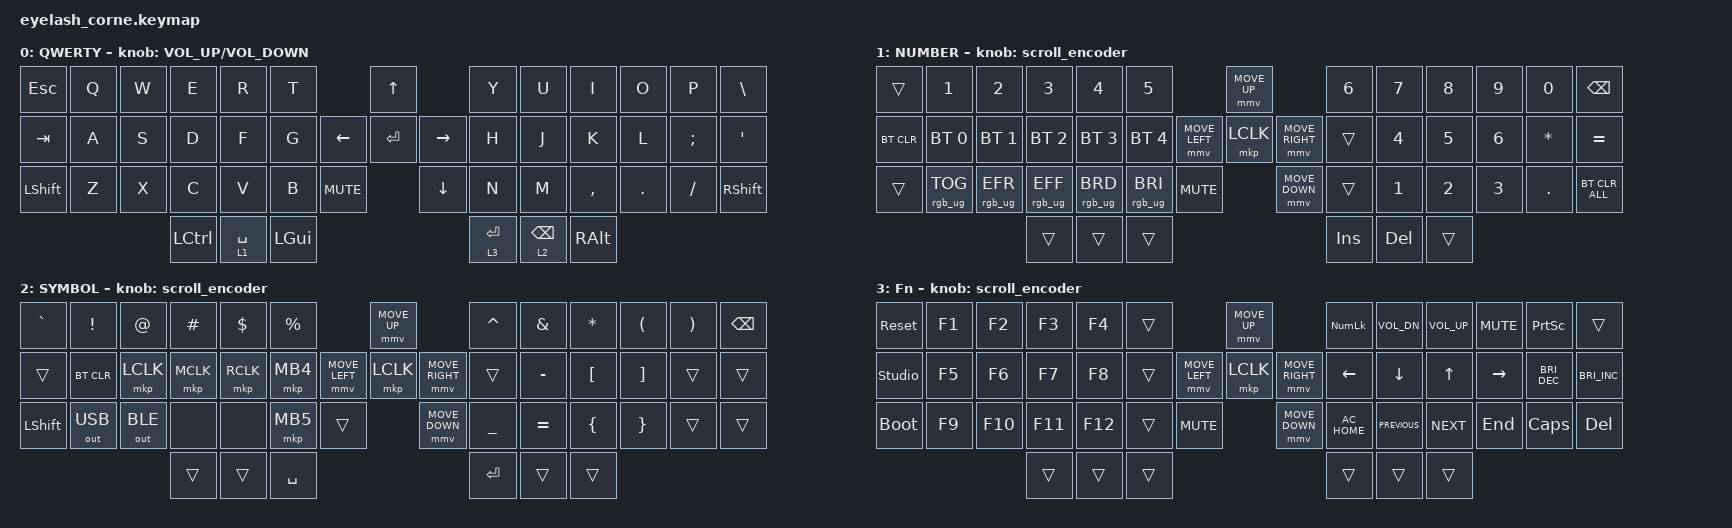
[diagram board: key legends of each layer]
#define ZMK_POINTING_DEFAULT_MOVE_VAL 1200  // 600
#define ZMK_POINTING_DEFAULT_SCRL_VAL 25   // 10

#include <input/processors.dtsi>
#include <zephyr/dt-bindings/input/input-event-codes.h>
#include <behaviors.dtsi>
#include <dt-bindings/zmk/bt.h>
#include <dt-bindings/zmk/keys.h>
#include <dt-bindings/zmk/outputs.h>
#include <dt-bindings/zmk/pointing.h>
#include <dt-bindings/zmk/rgb.h>

&mmv_input_listener { input-processors = <&zip_xy_scaler 2 1>; };

&msc_input_listener { input-processors = <&zip_scroll_scaler 2 1>; };

&msc {
    acceleration-exponent = <1>;      // 0
    time-to-max-speed-ms = <100>;       // 300
    delay-ms = <0>;                   // 0
};

&mmv {
    time-to-max-speed-ms = <500>;
    acceleration-exponent = <1>;
    trigger-period-ms = <16>;
};

/ {
    behaviors {
        td0: td0 {
            compatible = "zmk,behavior-tap-dance";
            display-name = "Shift/Caps Lock Tap Dance";
            #binding-cells = <0>;
            bindings = <&kp LEFT_SHIFT>, <&kp CAPS>;
        };

        lt: layer_tap {
            quick-tap-ms = <250>;
            compatible = "zmk,behavior-hold-tap";
            #binding-cells = <2>;
            flavor = "tap-preferred";
            tapping-term-ms = <200>;
            bindings = <&mo>, <&kp>;

            display-name = "Layer-Tap";
        };
    };

    rgb_encoder: rgb_encoder {
        compatible = "zmk,behavior-sensor-rotate";
        #sensor-binding-cells = <0>;
        bindings = <&rgb_ug RGB_BRI>, <&rgb_ug RGB_BRD>;
    };

    scroll_encoder: scroll_encoder {
        compatible = "zmk,behavior-sensor-rotate";
        #sensor-binding-cells = <0>;
        bindings = <&msc SCRL_DOWN>, <&msc SCRL_UP>;

        tap-ms = <100>;
    };

    keymap {
        compatible = "zmk,keymap";

        default_layer {
            display-name = "QWERTY";
            bindings = <
&kp ESC         &kp Q  &kp W  &kp E             &kp R        &kp T                                 &kp UP                &kp Y        &kp U            &kp I      &kp O    &kp P     &kp BACKSLASH
&kp TAB         &kp A  &kp S  &kp D             &kp F        &kp G                       &kp LEFT  &kp ENTER  &kp RIGHT  &kp H        &kp J            &kp K      &kp L    &kp SEMI  &kp SQT
&kp LEFT_SHIFT  &kp Z  &kp X  &kp C             &kp V        &kp B         &kp C_MUTE              &kp DOWN              &kp N        &kp M            &kp COMMA  &kp DOT  &kp FSLH  &kp RIGHT_SHIFT
                              &kp LEFT_CONTROL  &lt 1 SPACE  &kp LEFT_GUI                                                &lt 3 ENTER  &lt 2 BACKSPACE  &kp RALT
            >;

            // sensor-bindings = <&inc_dec_kp C_VOLUME_UP C_VOLUME_DOWN>;

            sensor-bindings = <&inc_dec_kp C_VOLUME_UP C_VOLUME_DOWN>;
        };

        Number {
            display-name = "NUMBER";
            bindings = <
&trans      &kp N1           &kp N2           &kp N3           &kp N4           &kp N5                                         &mmv MOVE_UP                     &kp N6   &kp N7        &kp N8        &kp N9        &kp N0        &kp BSPC
&bt BT_CLR  &bt BT_SEL 0     &bt BT_SEL 1     &bt BT_SEL 2     &bt BT_SEL 3     &bt BT_SEL 4                   &mmv MOVE_LEFT  &mkp LCLK       &mmv MOVE_RIGHT  &trans   &kp NUMBER_4  &kp NUMBER_5  &kp NUMBER_6  &kp ASTERISK  &kp EQUAL
&trans      &rgb_ug RGB_TOG  &rgb_ug RGB_EFR  &rgb_ug RGB_EFF  &rgb_ug RGB_BRD  &rgb_ug RGB_BRI  &kp C_MUTE                    &mmv MOVE_DOWN                   &trans   &kp NUMBER_1  &kp NUMBER_2  &kp NUMBER_3  &kp DOT       &bt BT_CLR_ALL
                                              &trans           &trans           &trans                                                                          &kp INS  &kp DEL       &trans
            >;

            sensor-bindings = <&scroll_encoder>;
        };

        Symbol {
            display-name = "SYMBOL";
            bindings = <
&kp GRAVE  &kp EXCL      &kp AT        &kp HASH   &kp DLLR   &kp PRCNT                            &mmv MOVE_UP                     &kp CARET  &kp AMPS   &kp ASTRK  &kp LPAR  &kp RPAR  &kp BSPC
&trans     &bt BT_CLR    &mkp LCLK     &mkp MCLK  &mkp RCLK  &mkp MB4             &mmv MOVE_LEFT  &mkp LCLK       &mmv MOVE_RIGHT  &trans     &kp MINUS  &kp LBKT   &kp RBKT  &trans    &trans
&kp LSHFT  &out OUT_USB  &out OUT_BLE  &none      &none      &mkp MB5   &trans                    &mmv MOVE_DOWN                   &kp UNDER  &kp EQUAL  &kp LBRC   &kp RBRC  &trans    &trans
                                       &trans     &trans     &kp SPACE                                                             &kp RET    &trans     &trans
            >;

            sensor-bindings = <&scroll_encoder>;
        };

        FN {
            display-name = "Fn";
            bindings = <
&sys_reset      &kp F1  &kp F2   &kp F3   &kp F4   &trans                                &mmv MOVE_UP                     &kp KP_NUMLOCK  &kp C_VOL_DN    &kp C_VOLUME_UP  &kp K_MUTE  &kp PRINTSCREEN       &trans
&studio_unlock  &kp F5  &kp F6   &kp F7   &kp F8   &trans                &mmv MOVE_LEFT  &mkp LCLK       &mmv MOVE_RIGHT  &kp LEFT        &kp DOWN        &kp UP           &kp RIGHT   &kp C_BRIGHTNESS_DEC  &kp C_BRIGHTNESS_INC
&bootloader     &kp F9  &kp F10  &kp F11  &kp F12  &trans  &kp C_MUTE                    &mmv MOVE_DOWN                   &kp C_AC_HOME   &kp K_PREVIOUS  &kp K_NEXT       &kp END     &kp CAPSLOCK          &kp DELETE
                                 &trans   &trans   &trans                                                                 &trans          &trans          &trans
            >;

            sensor-bindings = <&scroll_encoder>;
        };
    };
};
